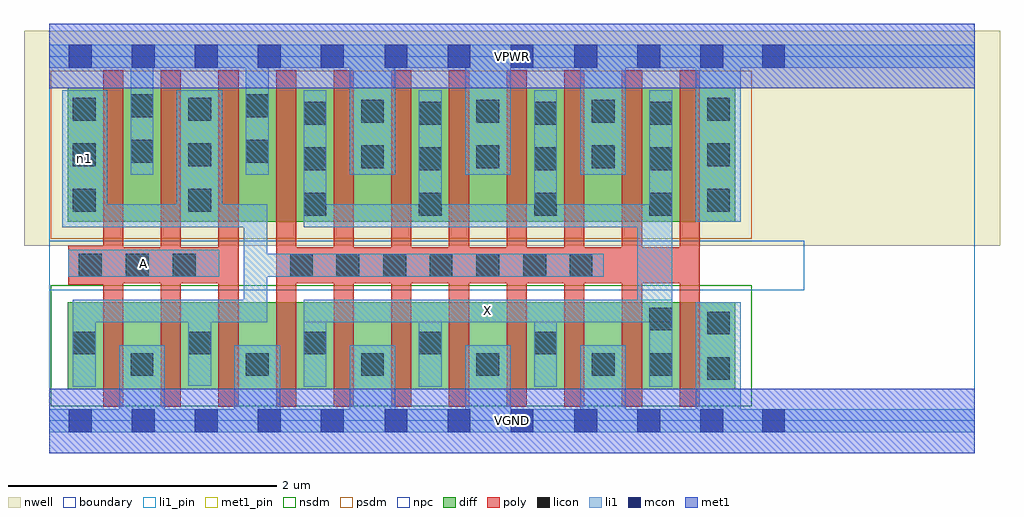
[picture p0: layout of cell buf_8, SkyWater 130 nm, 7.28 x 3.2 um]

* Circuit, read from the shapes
.subckt buf_8 A VGND VPWR X n1
XM1 VGND A n1 VSUBS sky130_fd_pr__nfet_01v8 w=0.65 l=0.15 m=3
XM2 X n1 VGND VSUBS sky130_fd_pr__nfet_01v8 w=0.65 l=0.15 m=8
XM3 VPWR A n1 n2 sky130_fd_pr__pfet_01v8 w=1 l=0.15 m=3
XM4 X n1 VPWR n2 sky130_fd_pr__pfet_01v8 w=1 l=0.15 m=8
.ends

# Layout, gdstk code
import gdstk
lib = gdstk.Library(unit=1e-6, precision=1e-09)
def R(c, l, rs):  # rectangles x0, y0, x1, y1
    for r in rs: c.add(gdstk.rectangle(r[:2], r[2:], *l))
def A(c, l, x, y, w, h, nx, ny, dx, dy):  # array of equal rectangles
    R(c, l, [(x+i*dx, y+j*dy, x+i*dx+w, y+j*dy+h) for i in range(nx) for j in range(ny)])
nwell = (64, 20)
diff = (65, 20)
poly = (66, 20)
licon = (66, 44)
li1_pin = (67, 16)
li1 = (67, 20)
mcon = (67, 44)
met1_pin = (68, 16)
met1 = (68, 20)
nsdm = (93, 44)
psdm = (94, 20)
npc = (95, 20)
boundary = (235, 4)

buf_8 = lib.new_cell('buf_8')
R(buf_8, nwell, [(-0.19,1.305,7.09,2.91), (0,1.305,6.9,2.91)])
R(buf_8, diff, [(0.135,0.235,5.115,0.885), (0.135,1.485,5.115,2.485)])
A(buf_8, poly, 0.4, 0.105, 0.15, 2.51, 11, 1, 0.43, 0)
R(buf_8, poly, [(0.14,1.015,0.55,1.305), (0.14,1.025,1.41,1.295), (1.69,1.025,4.85,1.295)])
A(buf_8, licon, 0.605, 0.335, 0.17, 0.17, 5, 1, 0.86, 0)
A(buf_8, licon, 0.175, 0.495, 0.17, 0.17, 5, 1, 0.86, 0)
A(buf_8, licon, 0.22, 1.075, 0.17, 0.17, 3, 1, 0.35, 0)
A(buf_8, licon, 2.835, 1.075, 0.17, 0.17, 3, 1, 0.35, 0)
A(buf_8, licon, 1.895, 1.53, 0.17, 0.17, 4, 3, 0.86, 0.34)
A(buf_8, licon, 0.175, 1.56, 0.17, 0.17, 1, 3, 0, 0.34)
A(buf_8, licon, 1.035, 1.56, 0.17, 0.17, 1, 3, 0, 0.34)
A(buf_8, licon, 4.905, 1.56, 0.17, 0.17, 1, 3, 0, 0.34)
A(buf_8, licon, 2.325, 1.885, 0.17, 0.17, 3, 2, 0.86, 0.34)
R(buf_8, licon, [(4.905,0.305,5.075,0.475), (4.475,0.335,4.645,0.505), (4.905,0.645,5.075,0.815), (4.475,0.675,4.645,0.845), (1.795,1.075,1.965,1.245), (2.14,1.075,2.31,1.245), (2.49,1.075,2.66,1.245), (3.88,1.075,4.05,1.245), (0.605,1.925,0.775,2.095), (1.465,1.925,1.635,2.095), (0.605,2.265,0.775,2.435), (1.465,2.265,1.635,2.435)])
R(buf_8, li1_pin, [(1.895,0.735,4.645,0.905), (0.14,1.075,1.265,1.275)])
A(buf_8, li1, 0.52, -0.085, 0.34, 0.65, 5, 1, 0.86, 0)
A(buf_8, li1, 1.895, 0.255, 0.17, 0.65, 3, 1, 0.86, 0)
A(buf_8, li1, 1.895, 1.445, 0.17, 1.02, 3, 1, 0.86, 0)
A(buf_8, li1, 2.24, 1.835, 0.34, 0.97, 3, 1, 0.86, 0)
R(buf_8, li1, [(0,-0.085,6.9,0.085), (4.82,-0.085,5.155,0.885), (0.175,0.255,0.345,0.905), (4.475,0.255,4.645,2.465), (1.035,0.26,1.205,0.905), (0.175,0.735,1.625,0.905), (1.45,0.735,1.625,1.615), (1.895,0.735,4.645,0.905), (4.385,0.735,4.645,1.615), (0.14,1.075,1.265,1.275), (1.45,1.075,4.135,1.245), (0.095,1.445,0.43,2.465), (0.095,1.445,1.625,1.615), (0.95,1.445,1.29,2.465), (1.895,1.445,4.645,1.615), (4.82,1.485,5.155,2.805), (0.605,1.835,0.775,2.805), (1.465,1.835,1.635,2.805), (0,2.635,6.9,2.805)])
A(buf_8, mcon, 0.145, -0.085, 0.17, 0.17, 5, 2, 0.47, 2.72)
A(buf_8, mcon, 2.5, -0.085, 0.17, 0.17, 3, 2, 0.47, 2.72)
A(buf_8, mcon, 3.915, -0.085, 0.17, 0.17, 3, 2, 0.47, 2.72)
R(buf_8, mcon, [(5.315,-0.085,5.485,0.085), (5.315,2.635,5.485,2.805)])
R(buf_8, met1_pin, [(0,-0.24,6.9,0.24), (0,2.48,6.9,2.96)])
R(buf_8, met1, [(0,-0.24,6.9,0.24), (0,2.48,6.9,2.96)])
R(buf_8, nsdm, [(0.01,0.11,5.24,1.01)])
R(buf_8, psdm, [(0.01,1.36,5.24,2.61)])
R(buf_8, npc, [(0,0.975,5.63,1.345)])
R(buf_8, boundary, [(0,0,6.9,2.72)])
buf_8.add(gdstk.Label('A', (0.702,1.175), layer=67, texttype=5))
buf_8.add(gdstk.Label('X', (3.27,0.82), layer=67, texttype=5))
buf_8.add(gdstk.Label('n1', (0.262,1.955), layer=67, texttype=5))
buf_8.add(gdstk.Label('VPWR', (3.45,2.72), layer=68, texttype=5))
buf_8.add(gdstk.Label('VGND', (3.45,0), layer=68, texttype=5))
buf_8.add(gdstk.Label('A', (0.702,1.175), layer=67, texttype=16))
buf_8.add(gdstk.Label('X', (3.27,0.82), layer=67, texttype=16))
buf_8.add(gdstk.Label('VPWR', (3.45,2.72), layer=68, texttype=16))
buf_8.add(gdstk.Label('VGND', (3.45,0), layer=68, texttype=16))

lib.write_gds('buf_8.gds')
